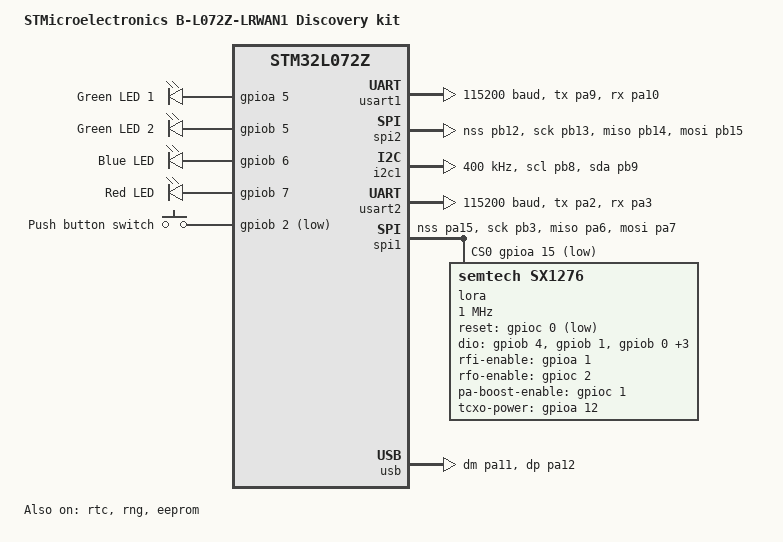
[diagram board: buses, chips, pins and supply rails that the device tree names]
/*
 * Copyright (c) 2018 Aleksandr Makarov <aleksandr.o.makarov@gmail.com>
 *
 * SPDX-License-Identifier: Apache-2.0
 */

/dts-v1/;
#include <st/l0/stm32l072Xz.dtsi>
#include <st/l0/stm32l072c(b-z)tx-pinctrl.dtsi>

/ {
	model = "STMicroelectronics B-L072Z-LRWAN1 Discovery kit";
	compatible = "st,stm32l072z-lrwan1";

	chosen {
		zephyr,console = &usart2;
		zephyr,shell-uart = &usart2;
		zephyr,sram = &sram0;
		zephyr,flash = &flash0;
	};

	leds {
		compatible = "gpio-leds";
		green_led_0: led_0 {
			gpios = <&gpioa 5 GPIO_ACTIVE_HIGH>;
			label = "Green LED 1";
		};
		green_led_1: led_1 {
			gpios = <&gpiob 5 GPIO_ACTIVE_HIGH>;
			label = "Green LED 2";
		};
		blue_led: led_2 {
			gpios = <&gpiob 6 GPIO_ACTIVE_HIGH>;
			label = "Blue LED";
		};
		red_led: led_3 {
			gpios = <&gpiob 7 GPIO_ACTIVE_HIGH>;
			label = "Red LED";
		};
	};

	gpio_keys {
		compatible = "gpio-keys";
		user_button: button_0 {
			label = "Push button switch";
			gpios = <&gpiob 2 GPIO_ACTIVE_LOW>;
		};
	};

	/* These aliases are provided for compatibility with samples */
	aliases {
		led0 = &green_led_0;
		led1 = &green_led_1;
		led2 = &blue_led;
		led3 = &red_led;
		sw0 = &user_button;
		eeprom-0 = &eeprom;
		lora0 = &lora;
	};

	power-states {
		stop: stop {
			compatible = "zephyr,power-state";
			power-state-name = "suspend-to-idle";
			min-residency-us = <100>;
		};
	};
};

&cpu0 {
	cpu-power-states = <&stop>;
};

&clk_lse {
	status = "okay";
};

&clk_hsi48 {
	status = "okay";
};

&clk_hsi {
	status = "okay";
};

&pll {
	div = <2>;
	mul = <4>;
	clocks = <&clk_hsi>;
	status = "okay";
};

&rcc {
	clocks = <&pll>;
	clock-frequency = <DT_FREQ_M(32)>;
	ahb-prescaler = <1>;
	apb1-prescaler = <1>;
	apb2-prescaler = <1>;
};

arduino_usart: &usart1 {};
arduino_spi: &spi2 {};
arduino_i2c: &i2c1 {};

&usart1 {
	pinctrl-0 = <&usart1_tx_pa9 &usart1_rx_pa10>;
	pinctrl-names = "default";
	current-speed = <115200>;
	status = "okay";
};

&usart2 {
	pinctrl-0 = <&usart2_tx_pa2 &usart2_rx_pa3>;
	pinctrl-names = "default";
	current-speed = <115200>;
	status = "okay";
};

&spi1 {
	pinctrl-0 = <&spi1_nss_pa15 &spi1_sck_pb3
		     &spi1_miso_pa6 &spi1_mosi_pa7>;
	pinctrl-names = "default";
	status = "okay";
	cs-gpios = <&gpioa 15 GPIO_ACTIVE_LOW>;

	lora: lora@0 {
		compatible = "semtech,sx1276";
		reg = <0>;
		reset-gpios = <&gpioc 0 GPIO_ACTIVE_LOW>;
		dio-gpios = <&gpiob 4 (GPIO_PULL_DOWN | GPIO_ACTIVE_HIGH)>,
			<&gpiob 1 (GPIO_PULL_DOWN | GPIO_ACTIVE_HIGH)>,
			<&gpiob 0 (GPIO_PULL_DOWN | GPIO_ACTIVE_HIGH)>,
			<&gpioc 13 (GPIO_PULL_DOWN | GPIO_ACTIVE_HIGH)>,
			<&gpioa 5 (GPIO_PULL_DOWN | GPIO_ACTIVE_HIGH)>,
			<&gpioa 4 (GPIO_PULL_DOWN | GPIO_ACTIVE_HIGH)>;
		rfi-enable-gpios = <&gpioa 1 GPIO_ACTIVE_HIGH>;
		rfo-enable-gpios = <&gpioc 2 GPIO_ACTIVE_HIGH>;
		pa-boost-enable-gpios = <&gpioc 1 GPIO_ACTIVE_HIGH>;
		tcxo-power-gpios = <&gpioa 12 GPIO_ACTIVE_HIGH>;
		tcxo-power-startup-delay-ms = <5>;
		spi-max-frequency = <1000000>;
	};
};

&spi2 {
	pinctrl-0 = <&spi2_nss_pb12 &spi2_sck_pb13
		     &spi2_miso_pb14 &spi2_mosi_pb15>;
	pinctrl-names = "default";
	status = "okay";
};

&i2c1 {
	pinctrl-0 = <&i2c1_scl_pb8 &i2c1_sda_pb9>;
	pinctrl-names = "default";
	status = "okay";
	clock-frequency = <I2C_BITRATE_FAST>;
};

&rtc {
	clocks = <&rcc STM32_CLOCK_BUS_APB1 0x10000000>,
		 <&rcc STM32_SRC_LSE RTC_SEL(1)>;
	status = "okay";
};

&rng {
	status = "okay";
};

&eeprom {
	status = "okay";
};

zephyr_udc0: &usb {
	pinctrl-0 = <&usb_dm_pa11 &usb_dp_pa12>;
	pinctrl-names = "default";
	status = "okay";
};

&flash0 {
	partitions {
		compatible = "fixed-partitions";
		#address-cells = <1>;
		#size-cells = <1>;

		/* Set aside 32KiB for data at the end of the 192KiB flash */
		storage_partition: partition@28000 {
			label = "storage";
			reg = <0x00028000 DT_SIZE_K(32)>;
		};
	};
};
